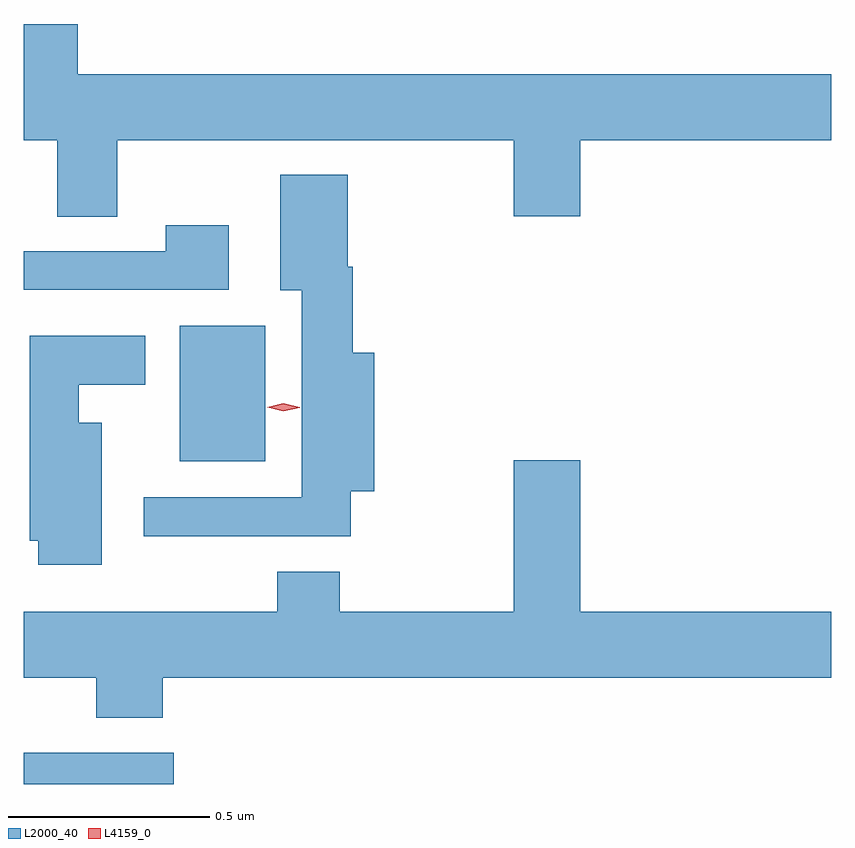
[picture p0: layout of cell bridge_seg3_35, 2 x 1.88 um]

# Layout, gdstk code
import gdstk
lib = gdstk.Library(unit=1e-6, precision=1e-09)
def R(c, l, rs):  # rectangles x0, y0, x1, y1
    for r in rs: c.add(gdstk.rectangle(r[:2], r[2:], *l))
def P(c, l, *ps):  # polygons
    for p in ps: c.add(gdstk.Polygon(p, *l))
L2000_40 = (2000, 40)
L4159_0 = (4159, 0)

bridge_seg3_35 = lib.new_cell('bridge_seg3_35')
R(bridge_seg3_35, L2000_40, [(715.242,695.325,715.613,695.402), (715.628,696.125,715.84,696.46)])
P(bridge_seg3_35, L2000_40, [(715.473,696.92),(716.456,696.92),(716.456,696.732),(716.62,696.732),(716.62,696.92),(717.242,696.92),(717.242,697.084),(715.376,697.084),(715.376,697.208),(715.242,697.208),(715.242,696.92),(715.325,696.92),(715.325,696.73),(715.473,696.73)],
  [(716.052,696.05),(716.11,696.05),(716.11,696.394),(716.057,696.394),(716.057,696.606),(716.044,696.606),(716.044,696.835),(715.877,696.835),(715.877,696.548),(715.931,696.548),(715.931,696.036),(715.539,696.036),(715.539,695.939),(716.052,695.939)],
  [(715.75,696.709),(715.594,696.709),(715.594,696.645),(715.242,696.645),(715.242,696.549),(715.75,696.549)],
  [(715.435,696.22),(715.378,696.22),(715.378,696.314),(715.543,696.314),(715.543,696.436),(715.256,696.436),(715.256,695.928),(715.277,695.928),(715.277,695.868),(715.435,695.868)],
  [(715.586,695.588),(717.242,695.588),(717.242,695.752),(716.62,695.752),(716.62,696.127),(716.456,696.127),(716.456,695.752),(716.025,695.752),(716.025,695.851),(715.87,695.851),(715.87,695.752),(715.242,695.752),(715.242,695.588),(715.421,695.588),(715.421,695.489),(715.586,695.489)])
P(bridge_seg3_35, L4159_0, [(715.885,696.248),(715.845,696.258),(715.845,696.258),(715.845,696.258),(715.885,696.268),(715.925,696.258),(715.926,696.257),(715.925,696.257)])

lib.write_gds('bridge_seg3_35.gds')
